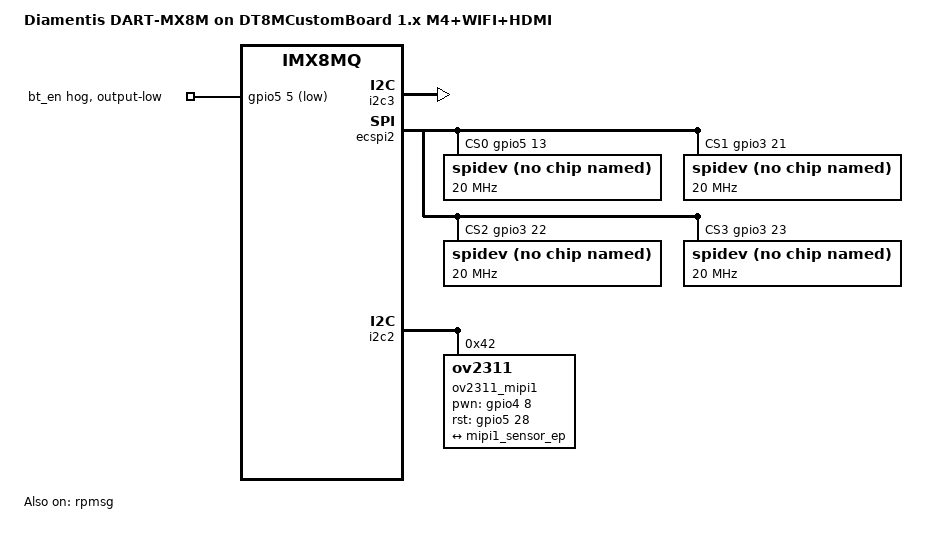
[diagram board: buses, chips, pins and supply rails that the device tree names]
/*
 * Copyright 2021 Amotus Solutions Inc.
 */

#include "imx8mq-var-dart-dt8mcustomboard-legacy-wifi-hdmi.dts"
#include "imx8mq-var-dart-dt8mcustomboard-m4.dtsi"

/ {
	/* WARNING: Be carefull here, the active board features are
	encoded in this string. */
	model = "Diamentis DART-MX8M on DT8MCustomBoard 1.x M4+WIFI+HDMI";

	/* 
	 * sound-hdmi is enabled by imx8mm-var-dart-dt8mcustomboard-hdmi.dtsi, make sure it stays
	 * disabled.
	 */
	sound-hdmi {
		status = "disabled";
	};
};

/*
* Enable rpmsg
*/
&rpmsg {
	status = "okay";
};

/*
* Enable i2C3 because imx8mq-var-dart-dt8mcustomboard-m4.dtsi disables it
*/
&i2c3 {
	status = "okay";
};

/*
 * uart4 is activated by imx8mq-var-dart-wifi.dtsi, make sure it stays
 * disabled.
 */
&uart4 {
	status = "disabled";
};

/*
 * Disable spi1 bus. Used by touch controller, CAN controller and the
 * SPI test device.
 */
&ecspi1 {
	status = "disabled";
};

/* disable gpio2 bank to make it available in the M4 */
&gpio2 {
	status = "disabled";
};

&gpio5 {
	/* disable BT buffer/level shifter */
	pinctrl-names = "default";
	pinctrl-0 = <&pinctrl_bt>;

	bt-en {
		gpio-hog;
		gpios = <5 GPIO_ACTIVE_LOW>;
		output-low;
		line-name = "bt_en";
	};
};

&ecspi2 {
	pinctrl-names = "default";
	pinctrl-0 = <&pinctrl_ecspi2>;
	cs-gpios = <&gpio5 13 GPIO_ACTIVE_HIGH>,
		   <&gpio3 21 GPIO_ACTIVE_HIGH>,
		   <&gpio3 22 GPIO_ACTIVE_HIGH>,
		   <&gpio3 23 GPIO_ACTIVE_HIGH>;
	fsl,spi-num-chipselects = <4>;
	status = "okay";

	/* Test SPI device */
        spidev@0 {
		/* TODO: add specific compatible string, all spi
		devices are compatible with spidev */
		compatible = "spidev";
		spi-max-frequency = <20000000>;
		reg = <0>;
        };

        spidev@1 {
		/* TODO: add specific compatible string, all spi
		devices are compatible with spidev */
		compatible = "spidev";
		spi-max-frequency = <20000000>;
		reg = <1>;
        };

        spidev@2 {
		/* TODO: add specific compatible string, all spi
		devices are compatible with spidev */
		compatible = "spidev";
		spi-max-frequency = <20000000>;
		reg = <2>;
        };

        spidev@3 {
		/* TODO: add specific compatible string, all spi
		devices are compatible with spidev */
		compatible = "spidev";
		spi-max-frequency = <20000000>;
		reg = <3>;
        };
};

&iomuxc {
	pinctrl_ecspi2: ecspi2grp {
		fsl,pins = <
		MX8MQ_IOMUXC_ECSPI2_SCLK_ECSPI2_SCLK		0x1b
		MX8MQ_IOMUXC_ECSPI2_MOSI_ECSPI2_MOSI		0x1b
		MX8MQ_IOMUXC_ECSPI2_MISO_ECSPI2_MISO		0x1b
		MX8MQ_IOMUXC_ECSPI2_SS0_GPIO5_IO13 		0x1b
		MX8MQ_IOMUXC_SAI5_RXD0_GPIO3_IO21		0x1b
		MX8MQ_IOMUXC_SAI5_RXD1_GPIO3_IO22		0x1b
		MX8MQ_IOMUXC_SAI5_RXD2_GPIO3_IO23		0x1b
		>;
	};
};

/*
 * Disable OV5640 and enable OV2311.
 */
&ov5640_mipi1 {
	status = "disabled";
};

&i2c2 {
	ov2311_mipi1: ov2311_mipi1@42 {
		status = "okay";
		compatible = "ov2311";
		reg = <0x42>;
		pinctrl-names = "default";
		pinctrl-0 = <&pinctrl_csi1>;
		clocks = <&clk IMX8MQ_CLK_CLKO2>;
		clock-names = "csi_mclk";
		csi_id = <0>;
	    mipi-data-lanes = <2>;
		camera-mipi-clk = <832>;
		pwn-gpios = <&gpio4 8 GPIO_ACTIVE_HIGH>;
		rst-gpios = <&gpio5 28 GPIO_ACTIVE_HIGH>;
		mclk = <24000000>;
		mclk_source = <0>;
		port {
			ov2311_mipi1_ep: endpoint {
				remote-endpoint = <&mipi1_sensor_ep>;
			};
		};
       };
};

        
&mipi1_sensor_ep {
		remote-endpoint = <&ov2311_mipi1_ep>;
	data-lanes = <1 2>;
};

&mipi_csi_1 {
	assigned-clock-rates = <266000000>, <250000000>, <66000000>;
	ov2311-csi-bridge;
};

&csi1_bridge {
	ov2311-csi-bridge;
};
